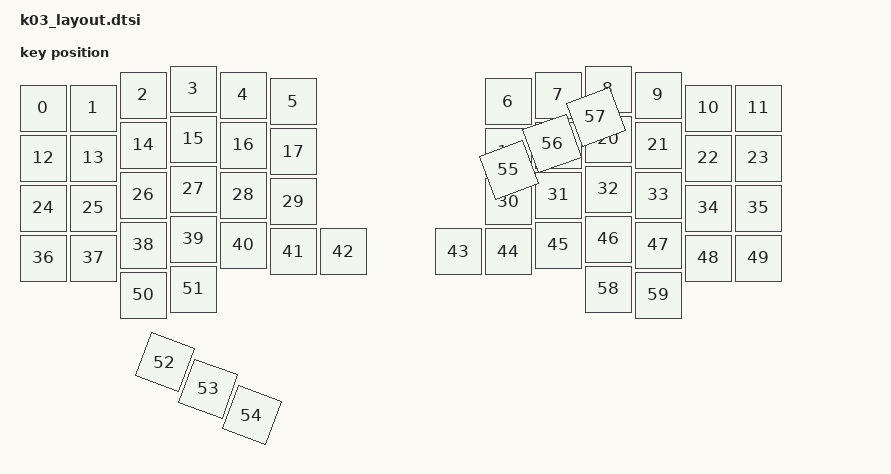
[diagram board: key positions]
#include <physical_layouts.dtsi>

/ {
    physical_layout: physical_layout {
        compatible = "zmk,physical-layout";
        display-name = "K:03";

        kscan = <&kscan0>;
        transform = <&default_transform>;

        keys  //                     w   h    x    y     rot    rx    ry
            = <&key_physical_attrs 100 100    0   38       0     0     0>
            , <&key_physical_attrs 100 100  100   38       0     0     0>
            , <&key_physical_attrs 100 100  200   12       0     0     0>
            , <&key_physical_attrs 100 100  300    0       0     0     0>
            , <&key_physical_attrs 100 100  400   12       0     0     0>
            , <&key_physical_attrs 100 100  500   25       0     0     0>
            , <&key_physical_attrs 100 100  930   25       0     0     0>
            , <&key_physical_attrs 100 100 1030   12       0     0     0>
            , <&key_physical_attrs 100 100 1130    0       0     0     0>
            , <&key_physical_attrs 100 100 1230   12       0     0     0>
            , <&key_physical_attrs 100 100 1330   38       0     0     0>
            , <&key_physical_attrs 100 100 1430   38       0     0     0>
            , <&key_physical_attrs 100 100    0  138       0     0     0>
            , <&key_physical_attrs 100 100  100  138       0     0     0>
            , <&key_physical_attrs 100 100  200  112       0     0     0>
            , <&key_physical_attrs 100 100  300  100       0     0     0>
            , <&key_physical_attrs 100 100  400  112       0     0     0>
            , <&key_physical_attrs 100 100  500  125       0     0     0>
            , <&key_physical_attrs 100 100  930  125       0     0     0>
            , <&key_physical_attrs 100 100 1030  112       0     0     0>
            , <&key_physical_attrs 100 100 1130  100       0     0     0>
            , <&key_physical_attrs 100 100 1230  112       0     0     0>
            , <&key_physical_attrs 100 100 1330  138       0     0     0>
            , <&key_physical_attrs 100 100 1430  138       0     0     0>
            , <&key_physical_attrs 100 100    0  238       0     0     0>
            , <&key_physical_attrs 100 100  100  238       0     0     0>
            , <&key_physical_attrs 100 100  200  212       0     0     0>
            , <&key_physical_attrs 100 100  300  200       0     0     0>
            , <&key_physical_attrs 100 100  400  212       0     0     0>
            , <&key_physical_attrs 100 100  500  225       0     0     0>
            , <&key_physical_attrs 100 100  930  225       0     0     0>
            , <&key_physical_attrs 100 100 1030  212       0     0     0>
            , <&key_physical_attrs 100 100 1130  200       0     0     0>
            , <&key_physical_attrs 100 100 1230  212       0     0     0>
            , <&key_physical_attrs 100 100 1330  238       0     0     0>
            , <&key_physical_attrs 100 100 1430  238       0     0     0>
            , <&key_physical_attrs 100 100    0  338       0     0     0>
            , <&key_physical_attrs 100 100  100  338       0     0     0>
            , <&key_physical_attrs 100 100  200  312       0     0     0>
            , <&key_physical_attrs 100 100  300  300       0     0     0>
            , <&key_physical_attrs 100 100  400  312       0     0     0>
            , <&key_physical_attrs 100 100  500  325       0     0     0>
            , <&key_physical_attrs 100 100  600  325       0     0     0>
            , <&key_physical_attrs 100 100  830  325       0     0     0>
            , <&key_physical_attrs 100 100  930  325       0     0     0>
            , <&key_physical_attrs 100 100 1030  312       0     0     0>
            , <&key_physical_attrs 100 100 1130  300       0     0     0>
            , <&key_physical_attrs 100 100 1230  312       0     0     0>
            , <&key_physical_attrs 100 100 1330  338       0     0     0>
            , <&key_physical_attrs 100 100 1430  338       0     0     0>
            , <&key_physical_attrs 100 100  200  412       0     0     0>
            , <&key_physical_attrs 100 100  300  400       0     0     0>
            , <&key_physical_attrs 100 100  430  410    2000     0     0>
            , <&key_physical_attrs 100 100  530  430    2000     0     0>
            , <&key_physical_attrs 100 100  630  450    2000     0     0>
            , <&key_physical_attrs 100 100  800  485 (-2000)     0     0>
            , <&key_physical_attrs 100 100  900  465 (-2000)     0     0>
            , <&key_physical_attrs 100 100 1000  445 (-2000)     0     0>
            , <&key_physical_attrs 100 100 1130  400       0     0     0>
            , <&key_physical_attrs 100 100 1230  412       0     0     0>
            ;
    };
};
